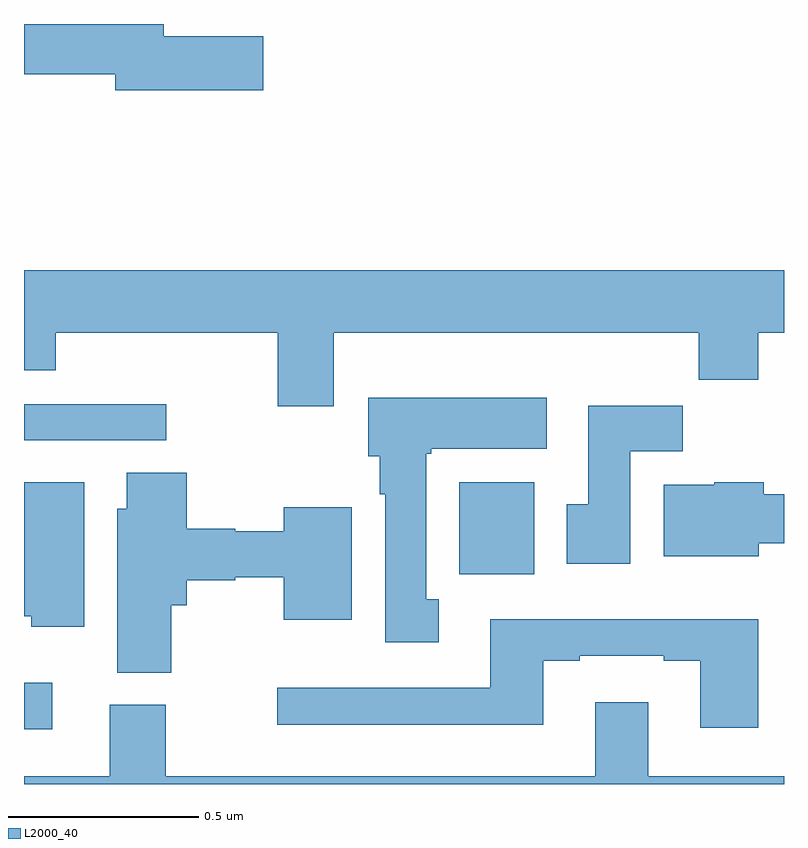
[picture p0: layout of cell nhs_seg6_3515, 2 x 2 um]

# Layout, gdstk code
import gdstk
lib = gdstk.Library(unit=1e-6, precision=1e-09)
def R(c, l, rs):  # rectangles x0, y0, x1, y1
    for r in rs: c.add(gdstk.rectangle(r[:2], r[2:], *l))
def P(c, l, *ps):  # polygons
    for p in ps: c.add(gdstk.Polygon(p, *l))
L2000_40 = (2000, 40)

nhs_seg6_3515 = lib.new_cell('nhs_seg6_3515')
R(nhs_seg6_3515, L2000_40, [(158,927.644,158.074,927.766), (159.146,928.052,159.343,928.294), (158,928.404,158.374,928.5)])
P(nhs_seg6_3515, L2000_40, [(158.629,929.468),(158.368,929.468),(158.368,929.5),(158,929.5),(158,929.368),(158.24,929.368),(158.24,929.326),(158.629,929.326)],
  [(158.815,928.688),(159.775,928.688),(159.775,928.564),(159.932,928.564),(159.932,928.688),(160,928.688),(160,928.852),(158,928.852),(158,928.589),(158.084,928.589),(158.084,928.688),(158.668,928.688),(158.668,928.494),(158.815,928.494)],
  [(159.091,927.986),(159.058,927.986),(159.058,928.369),(159.072,928.369),(159.072,928.382),(159.376,928.382),(159.376,928.516),(158.906,928.516),(158.906,928.362),(158.936,928.362),(158.936,928.262),(158.951,928.262),(158.951,927.873),(159.091,927.873)],
  [(159.595,928.376),(159.734,928.376),(159.734,928.495),(159.485,928.495),(159.485,928.236),(159.428,928.236),(159.428,928.08),(159.595,928.08)],
  [(158.388,927.971),(158.428,927.971),(158.428,928.036),(158.556,928.036),(158.556,928.044),(158.684,928.044),(158.684,927.932),(158.863,927.932),(158.863,928.228),(158.684,928.228),(158.684,928.165),(158.556,928.165),(158.556,928.172),(158.428,928.172),(158.428,928.319),(158.27,928.319),(158.27,928.224),(158.246,928.224),(158.246,927.793),(158.388,927.793)],
  [(159.934,928.133),(160,928.133),(160,928.263),(159.947,928.263),(159.947,928.294),(159.816,928.294),(159.816,928.288),(159.683,928.288),(159.683,928.1),(159.934,928.1)],
  [(158.158,928.294),(158,928.294),(158,927.941),(158.019,927.941),(158.019,927.914),(158.158,927.914)],
  [(159.932,927.934),(159.227,927.934),(159.227,927.753),(158.667,927.753),(158.667,927.656),(159.367,927.656),(159.367,927.825),(159.463,927.825),(159.463,927.837),(159.683,927.837),(159.683,927.825),(159.779,927.825),(159.779,927.648),(159.932,927.648)],
  [(160,927.52),(159.643,927.52),(159.643,927.715),(159.503,927.715),(159.503,927.52),(158.373,927.52),(158.373,927.708),(158.225,927.708),(158.225,927.52),(158,927.52),(158,927.5),(160,927.5)])

lib.write_gds('nhs_seg6_3515.gds')
